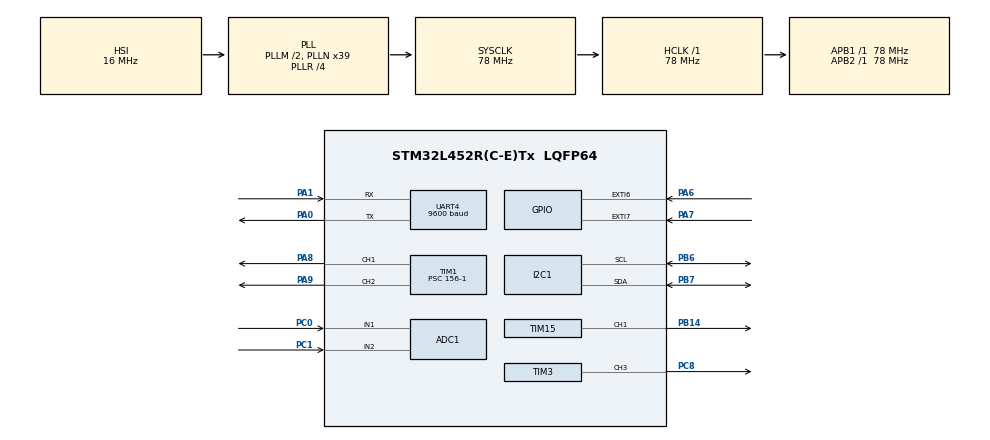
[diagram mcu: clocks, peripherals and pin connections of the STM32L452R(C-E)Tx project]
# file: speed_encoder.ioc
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ADC1.Channel-0\#ChannelRegularConversion=ADC_CHANNEL_1
ADC1.Channel-1\#ChannelRegularConversion=ADC_CHANNEL_2
ADC1.ContinuousConvMode=ENABLE
ADC1.DMAContinuousRequests=ENABLE
ADC1.EnableInjectedConversion=ENABLE
ADC1.NbrOfConversion=2
ADC1.NbrOfConversionFlag=1
ADC1.OffsetNumber-0\#ChannelRegularConversion=ADC_OFFSET_NONE
ADC1.OffsetNumber-1\#ChannelRegularConversion=ADC_OFFSET_NONE
ADC1.Rank-0\#ChannelRegularConversion=1
ADC1.Rank-1\#ChannelRegularConversion=2
ADC1.SamplingTime-0\#ChannelRegularConversion=ADC_SAMPLETIME_2CYCLES_5
ADC1.SamplingTime-1\#ChannelRegularConversion=ADC_SAMPLETIME_2CYCLES_5
ADC1.master=1
Dma.ADC1.0.Direction=DMA_PERIPH_TO_MEMORY
Dma.ADC1.0.Instance=DMA1_Channel1
Dma.ADC1.0.MemDataAlignment=DMA_MDATAALIGN_HALFWORD
Dma.ADC1.0.MemInc=DMA_MINC_ENABLE
Dma.ADC1.0.Mode=DMA_NORMAL
Dma.ADC1.0.PeriphDataAlignment=DMA_PDATAALIGN_HALFWORD
Dma.ADC1.0.PeriphInc=DMA_PINC_DISABLE
Dma.ADC1.0.Priority=DMA_PRIORITY_LOW
Dma.Request0=ADC1
I2C1.Timing=0x109099E5
Mcu.Family=STM32L4
Mcu.Name=STM32L452R(C-E)Tx
Mcu.Package=LQFP64
NVIC.DMA1_Channel1_IRQn=true\:0\:0\:false\:false\:true\:false\:true\:true
NVIC.EXTI9_5_IRQn=true\:0\:0\:false\:false\:true\:true\:true\:true
NVIC.PriorityGroup=NVIC_PRIORITYGROUP_4
NVIC.TIM1_UP_TIM16_IRQn=true\:0\:0\:false\:false\:true\:true\:true\:true
NVIC.TIM2_IRQn=true\:0\:0\:false\:false\:true\:true\:true\:true
NVIC.TIM6_DAC_IRQn=true\:0\:0\:false\:false\:true\:true\:true\:true
NVIC.UART4_IRQn=true\:0\:0\:false\:false\:true\:true\:true\:true
PA0.Mode=Asynchronous
PA0.Signal=UART4_TX
PA1.Mode=Asynchronous
PA1.Signal=UART4_RX
PA13\ (JTMS/SWDIO).Mode=Serial_Wire
PA13\ (JTMS/SWDIO).Signal=SYS_JTMS-SWDIO
PA14\ (JTCK/SWCLK).Mode=Serial_Wire
PA14\ (JTCK/SWCLK).Signal=SYS_JTCK-SWCLK
PA6.GPIO_ModeDefaultEXTI=GPIO_MODE_IT_RISING
PA6.GPIO_PuPd=GPIO_PULLDOWN
PA6.Signal=GPXTI6
PA7.GPIO_ModeDefaultEXTI=GPIO_MODE_IT_FALLING
PA7.GPIO_PuPd=GPIO_PULLDOWN
PA7.Signal=GPXTI7
PA8.Signal=S_TIM1_CH1
PA9.Signal=S_TIM1_CH2
PB14.Signal=S_TIM15_CH1
PB6.GPIO_Pu=GPIO_PULLUP
PB6.Mode=I2C
PB6.Signal=I2C1_SCL
PB7.GPIO_Pu=GPIO_PULLUP
PB7.Mode=I2C
PB7.Signal=I2C1_SDA
PC0.Signal=ADCx_IN1
PC1.Signal=ADCx_IN2
PC8.Signal=S_TIM3_CH3
PH0-OSC_IN\ (PH0).Mode=HSE-External-Oscillator
PH0-OSC_IN\ (PH0).Signal=RCC_OSC_IN
PH1-OSC_OUT\ (PH1).Mode=HSE-External-Oscillator
PH1-OSC_OUT\ (PH1).Signal=RCC_OSC_OUT
ProjectManager.HeapSize=0x200
ProjectManager.StackSize=0x400
ProjectManager.TargetToolchain=STM32CubeIDE
RCC.ADCFreq_Value=32000000
RCC.AHBFreq_Value=78000000
RCC.APB1Freq_Value=78000000
RCC.APB1TimFreq_Value=78000000
RCC.APB2Freq_Value=78000000
RCC.APB2TimFreq_Value=78000000
RCC.CortexFreq_Value=78000000
RCC.HCLKFreq_Value=78000000
RCC.HSE_VALUE=8000000
RCC.HSI48_VALUE=48000000
RCC.HSI_VALUE=16000000
RCC.LSE_VALUE=32768
RCC.MSI_VALUE=4000000
RCC.PLLM=2
RCC.PLLN=39
RCC.PLLR=RCC_PLLR_DIV4
RCC.PLLSourceVirtual=RCC_PLLSOURCE_HSI
RCC.SYSCLKFreq_VALUE=78000000
RCC.SYSCLKSource=RCC_SYSCLKSOURCE_PLLCLK
RCC.USBFreq_Value=32000000
RCC.VCOOutputFreq_Value=312000000
SH.ADCx_IN1.0=ADC1_IN1,IN1-Single-Ended
SH.ADCx_IN2.0=ADC1_IN2,IN2-Single-Ended
SH.S_TIM15_CH1.0=TIM15_CH1,PWM Generation1 CH1
SH.S_TIM1_CH1.0=TIM1_CH1,PWM Generation1 CH1
SH.S_TIM1_CH2.0=TIM1_CH2,PWM Generation2 CH2
SH.S_TIM3_CH3.0=TIM3_CH3,PWM Generation3 CH3
TIM1.AutoReloadPreload=TIM_AUTORELOAD_PRELOAD_ENABLE
TIM1.Channel-PWM\ Generation1\ CH1=TIM_CHANNEL_1
TIM1.Channel-PWM\ Generation2\ CH2=TIM_CHANNEL_2
TIM1.Period=10000-1
TIM1.Prescaler=156-1
TIM15.AutoReloadPreload=TIM_AUTORELOAD_PRELOAD_ENABLE
TIM15.Channel-PWM\ Generation1\ CH1=TIM_CHANNEL_1
TIM15.Period=10000-1
TIM15.Prescaler=156-1
TIM2.Period=7999
TIM2.Prescaler=999
TIM2.TIM_MasterOutputTrigger=TIM_TRGO_UPDATE
TIM3.AutoReloadPreload=TIM_AUTORELOAD_PRELOAD_ENABLE
TIM3.Channel-PWM\ Generation3\ CH3=TIM_CHANNEL_3
TIM3.OC3Preload_PWM=ENABLE
TIM3.Period=8000
TIM3.Prescaler=10-1
TIM6.Period=1560-1
TIM6.Prescaler=999
UART4.BaudRate=9600
VP_TIM15_VS_ClockSourceINT.Mode=Internal
VP_TIM1_VS_ClockSourceINT.Mode=Internal
VP_TIM2_VS_ClockSourceINT.Mode=Internal
VP_TIM3_VS_ClockSourceINT.Mode=Internal
VP_TIM6_VS_ClockSourceINT.Mode=Enable_Timer
board=custom

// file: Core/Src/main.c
/* USER CODE BEGIN Header */
/**
  ******************************************************************************
  * @file           : main.c
  * @brief          : Main program body
  ******************************************************************************
  * @attention
  *
  * Copyright (c) 2023 STMicroelectronics.
  * All rights reserved.
  *
  * This software is licensed under terms that can b found in the LICENSE file
  * in the root directory of this software component.
  * If no LICENSE file comes with this software, it is provided AS-IS.
  *
  ******************************************************************************
  */
/* USER CODE END Header */
#include "main.h"
#include "adc.h"
#include "dma.h"
#include "i2c.h"
#include "tim.h"
#include "usart.h"
#include "gpio.h"

/* USER CODE BEGIN Includes */

#include "stdio.h"

//#include "stdlib.h"

/* USER CODE END Includes */

/* USER CODE BEGIN PD */
#define gain1      0.018
#define offset1    1.0995
#define gain2      0.0006     //0.0006
#define offset2     0.0195    //-0.0982
/* USER CODE END PD */

/* USER CODE BEGIN PV */
int counter = 0;
int counterir = 0;

uint32_t SpeedTime2=0;
int k=0;
int a =0;

int sum_count=0;
float dist=0;

float R1=10.0;
float R2=0.47;

float voltage_input;

float dist1=0;
//uint8_t Receive;
uint32_t targetSpeed;

uint32_t SpeedTime=0;

uint32_t SpeedTime1=0;

float rps;
int POD_ID ;
//int POD_ID = 345;
uint16_t speed_dummy = 5656;
float speed_enc;
//uint8_t ACK = 0;

uint8_t Receive[11];
int spd=0;
uint8_t sed[4] ={0};
int  FinalTime;

uint8_t Time[2] ={0};
uint8_t Pod[3];

__IO uint32_t MotorTimeFed = 0;

__IO uint32_t MotorTimeBack = 0;

__IO uint32_t PreviousTime = 0;

__IO uint32_t PrintTime = 0;

__IO uint32_t EnergyTime = 0;

extern __IO uint32_t LocalTime;

int Rx= 0;
int flag = 0;
int a;
int b;
int c;

int t=0;

int i=0;

float A=0.0;
float lambda=0.9;

int count = 0;
int d = 0;
int e = 0;
int cnt[20];
uint32_t u =0;
char buffer[20];

int j=0;
int s = 0;
int q = 0;
int v =0;
int p =0;

int distance=0;
float dis = 0;
int speed = 0;
//to send to server:
float Energy = 0;
int TrackVoltage = 0;
int POD_Direction = 0;
uint8_t TrackingSwitching = 0;
//int temperature = 0;
int I_current = 8;
int slope = 0;
int distravelled=0;
//jonathan variables
float distanceCovered = 0;
static uint32_t countSum = 0;
//ADC variable
uint16_t value[2];
volatile int adc_conv_cplt = 0;
float voltagePC0;
float currentPC1;
float I;
float Vdc = 0;
float Idc = 0;
float Power = 0;
float Energy1 = 0;
//
float rawCurrent = 0;
uint8_t sampleCurrent = 0;
float Current =0;
uint8_t ACK = 0;
int increment = 0;

//speed loop

//float error;
//uint8_t targetSpeed;
 //float ServerSpeed = 0;
// IR sensor
uint8_t debounce_state = 1;

/* USER CODE END PV */

void SystemClock_Config(void);
/* USER CODE BEGIN PFP */
#ifdef __GNUC__
#define PUTCHAR_PROTOTYPE int __io_putchar(int ch)
#else
#define PUTCHAR_PROTOTYPE int fputc(int ch, FILE *f)
#endif

PUTCHAR_PROTOTYPE
{
  HAL_UART_Transmit(&huart4, (uint8_t *)&ch, 1, HAL_MAX_DELAY);
  return ch;
}
/* USER CODE END PFP */

int main(void)
{
  /* USER CODE BEGIN 1 */
//char msg[30];
  /* USER CODE END 1 */

  /* MCU Configuration--------------------------------------------------------*/

  /* Reset of all peripherals, Initializes the Flash interface and the Systick. */

	HAL_Init();

  /* Configure the system clock */
  SystemClock_Config();

  /* Initialize all configured peripherals */
  MX_GPIO_Init();
  MX_DMA_Init();
  MX_TIM1_Init();
  MX_TIM2_Init();
  MX_UART4_Init();
  MX_TIM3_Init();
  MX_TIM15_Init();
  MX_ADC1_Init();
  MX_I2C1_Init();
  MX_TIM6_Init();
  /* USER CODE BEGIN 2 */
  HAL_TIM_PWM_Start(&htim1,TIM_CHANNEL_1);
  HAL_TIM_PWM_Start(&htim1,TIM_CHANNEL_2);
  HAL_TIM_PWM_Start(&htim3,TIM_CHANNEL_3);
  HAL_TIM_Base_Start_IT(&htim2);
  HAL_UART_Receive_IT(&huart4, Receive, 11);
  HAL_TIM_PWM_Start(&htim15,TIM_CHANNEL_1);
  HAL_I2C_Mem_Read(&hi2c1, FRAM_ADDRESS,ENERGY_ADDRESS,I2C_MEMADD_SIZE_16BIT, (uint8_t *) &Energy, sizeof(Energy), 10);

  /* USER CODE END 2 */

  /* Infinite loop */
  /* USER CODE BEGIN WHILE */
  //TIM1->CCR2 = 2500;

  while (1)
  {

    /* USER CODE END WHILE */

    /* USER CODE BEGIN 3 */
	 	//  HAL_UART_Transmit_IT(&huart4, (uint32_t *) &speed, 10);

	/* if(a == 1)
	 {
	  if((LocalTime - SpeedTime2) >= 10)
		{
		 TIM3->CCR3 = k;
		 k+=80;
		 SpeedTime2=LocalTime;
		 if(k>=8000)
		 {
			 a = 0;
		 }
		}
	 }*/

	TIM15->CCR1 = s;  //reverse
 TIM1->CCR1 = q;  //forward
   // TIM1->CCR2 = v;  // not using
TIM3->CCR3 = p; // solenoid 0.68 max current*/
	   HAL_ADC_Start_DMA(&hadc1, (uint32_t *)value, 2);
	   Engery_Calulation();

//   if((LocalTime - PreviousTime ) >= 500)
//	 {
//		 if(distance<10){
//			 sprintf(buffer, "%d000%d%d", POD_ID, distance, Rx);
//		 }
//		 else if(distance<100){
//			 sprintf(buffer, "%d00%d%d", POD_ID, distance, Rx);
//  		 }
//		 else if(distance<1000){
//			 sprintf(buffer, "%d0%d%d", POD_ID, distance, Rx);
//		 }
//		 else{
//			 sprintf(buffer, "%d%d%d", POD_ID, distance, Rx);
//		 }
//		 printf("%s\n",buffer);
//		 PreviousTime = LocalTime;
//	 }
//	// printf("%d %d%d\n",a,b,c);
//	//  printf("%d",counter);
//	 printf("%d\n",distance);

 /*  if((LocalTime - PreviousTime ) >= 500)
	   	 {
	   		 if(speed_enc<10){
	   			 if(Energy<10){
	   				 sprintf(buffer, "%d000%d%d00%d%d%d%d%d%d", POD_ID, distance, POD_Status,Energy,TrackVoltage,distravelled,POD_Direction,TrackingSwitching,I_current);
	   			 }
	   			 else if(Energy<100){
	   				 sprintf(buffer, "%d000%d%d0%d%d%d%d%d%d", POD_ID, distance, POD_Status,Energy,TrackVoltage,distravelled,POD_Direction,TrackingSwitching,I_current);

	   			 }
	   			 else if(Energy<1000){
	   				 sprintf(buffer, "%d000%d%d%d%d%d%d%d%d", POD_ID, distance, POD_Status,Energy,TrackVoltage,distravelled,POD_Direction,TrackingSwitching,I_current);
	   			 }
	   		 }

	   		 else if(speed_enc<100){
	   			 if(Energy<10){
	   				 sprintf(buffer, "%d00%d%d00%d%d%d%d%d%d", POD_ID, distance, POD_Status,Energy,TrackVoltage,distravelled,POD_Direction,TrackingSwitching,I_current);
	   			 }
	   			 else if(Energy<100){
	   				 sprintf(buffer, "%d00%d%d0%d%d%d%d%d%d", POD_ID, distance, POD_Status,Energy,TrackVoltage,distravelled,POD_Direction,TrackingSwitching,I_current);
	   			 }
	   			 else if(Energy<1000){
	   				 sprintf(buffer, "%d00%d%d%d%d%d%d%d%d", POD_ID, distance, POD_Status,Energy,TrackVoltage,distravelled,POD_Direction,TrackingSwitching,I_current);
	   			 }
	   		 }
	   		 else if(speed_enc<1000){
	   			 if(Energy<10){
	   				 sprintf(buffer, "%d0%d%d00%d%d%d%d%d%d", POD_ID, distance, POD_Status,Energy,TrackVoltage,distravelled,POD_Direction,TrackingSwitching,I_current);
	   			 }
	   			 else if(Energy<100){
	   				 sprintf(buffer, "%d0%d%d0%d%d%d%d%d%d", POD_ID, distance, POD_Status,Energy,TrackVoltage,distravelled,POD_Direction,TrackingSwitching,I_current);
	   			 }
	   			 else if(Energy<1000){
	   				 sprintf(buffer, "%d0%d%d%d%d%d%d%d%d", POD_ID, distance, POD_Status,Energy,TrackVoltage,distravelled,POD_Direction,TrackingSwitching,I_current);
	   			 }
	   		 }
	   		 else{
	   			 if(Energy<10){
	   				 sprintf(buffer, "%d%d%d00%d%d%d%d%d%d", POD_ID, distance, POD_Status,POD_Status,TrackVoltage,distravelled,POD_Direction,TrackingSwitching,I_current);
	   			 }
	   			 else if(Energy<100){
	   				 sprintf(buffer, "%d%d%d0%d%d%d%d%d%d", POD_ID, distance, POD_Status,Energy,TrackVoltage,distravelled,POD_Direction,TrackingSwitching,I_current);
	   			 }
	   			 else if(Energy<1000){
	   				 sprintf(buffer, "%d%d%d%d%d%d%d%d%d", POD_ID, distance, POD_Status,Energy,Energy,distravelled,POD_Direction,TrackingSwitching,I_current);
	   			 }
	   		 }
	   		 printf("%s\n",buffer);
	   	 }*/

 // Motor_ControlLoop(targetSpeed);

if(flag == 1)
{
	//cnt[j] = counter;
			       countSum+=counter;
			       //ditanceCovered=((float)(countSum*10/20.0)*0.0754)/10.0;
			      distanceCovered=((float)(countSum/20.0)*0.0754); //m/sec
			      //distravelled = distanceCovered*100;
			       // distanceCovered=((float)(countSum/20.0)*0.103);
			   	 //  distance=(int)(distanceCovered * 100);
			   	  //  dis=sum_count*0.0754/20.0;
			   	    j++;
			   	    if(j>20){
			   	    	j=0;
			   	    }
			   	 rps = (float)counter*10/20.0;  //diameter is 27mm
			   //	distanceCovered=(rps*0.0754); //m/sec
			   	    counter = 0;
			   	    // speed = rps*0.0942; //diameter is 29mm
			   	    speed_enc = rps*0.075398;
			   	    //distance = speed_enc * 1000;
	    flag = 0;
}
if( Rx == 1)
 {
	 if((LocalTime - PrintTime ) >= 1000)
		   	 {
			   PrintTime  = LocalTime;
			   increment++;

			   printf("{\"POD_ID\": \"%03d\",\"speed_enc\": \"%01.3f\",\"distanceCovered\": \"%06.3f\",\"Idc\": \"%02.3f\",\"Vdc\": \"%02.3f\",\"Power\": \"%02.3f\",\"Energy\": \"%06.3f\",\"ACK\": \"%d\",\"increment\": \"%d\",\"counterir\": \"%d\",\"spd\": \"04%d\",\"TrackingSwitching\": \"%d\"}\r\n", POD_ID, speed_enc, distanceCovered,Idc,Vdc,Power,Energy,ACK,increment,counterir,spd,TrackingSwitching);
 }

	 if(Receive[10]=='1')
	 {
		 TIM3->CCR3 = 8000;

	 }
	 else
	 {
			 TIM3->CCR3 = 0;
	 }
	 if(Receive[3]=='1') // For forward direction
	  {
	     HAL_TIM_PWM_Stop(&htim15,TIM_CHANNEL_1);
	     TIM15->CCR1 = 0;
	     HAL_TIM_PWM_Start(&htim1,TIM_CHANNEL_1);
   // if(i<=ServerSpeed)
	 	 if(i<=spd)
	 	 {
	 	  if((LocalTime - SpeedTime) >= 10)
	 		{
			 TIM1->CCR1 = i;
			 i+=10;
			 SpeedTime=LocalTime;
	 		}
	 	 }
	 //else if(i>=ServerSpeed)
	 	  else if(i>=spd)
	 	   {
	 		if((LocalTime - SpeedTime1) >= 10)
	 		{
	 	     TIM1->CCR1 = i;
			 i-=10;
			 SpeedTime1=LocalTime;
	 		 }
	 	   }
	 	}
	   if((LocalTime - MotorTimeFed) >= FinalTime)
	 	 {
	 		     HAL_TIM_PWM_Stop(&htim1,TIM_CHANNEL_1);
	 		     TIM1->CCR1 = 0;
	 		     MotorTimeFed = LocalTime;
	 		        Rx=0;
	 		        i=0;
	 		       ACK = 1;
	 	  }

	 	 if(Receive[3]=='0') // For forward direction
	 		 	   {
	 		 		  HAL_TIM_PWM_Stop(&htim1,TIM_CHANNEL_1);
	 	 	 	 	  TIM1->CCR1 = 0;
	 	 	 	 	 HAL_TIM_PWM_Start(&htim15,TIM_CHANNEL_1);

	 		 		 if(i<=spd){
	 		 			// while(i<=spd){
	 		 				if((LocalTime - SpeedTime) >= 10)
	 		 				{
	 		 					TIM15->CCR1 = i;
	 							 i+=10;
	 							 SpeedTime=LocalTime;
	 		 				}

	 		 		 }
	 		 		 else if(i>=spd)
	 		 		 {
	 		 			// while(i>=spd){
	 		 				if((LocalTime - SpeedTime1) >= 10)
	 		 				{
	 		 					TIM15->CCR1 = i;
	 							 i-=10;
	 							 SpeedTime1=LocalTime;
	 		 			    }

	 		 		 }
	 		 		 }
	 	 if((LocalTime - MotorTimeBack) >= FinalTime)
	 		 	  {
	 		 		     HAL_TIM_PWM_Stop(&htim15,TIM_CHANNEL_1);
	 		 		   TIM15->CCR1 = 0;
	 		 		   MotorTimeBack = LocalTime;
	 		 		        Rx=0;
	 		 		        i=0;
	 		 		       ACK = 1;
	 		 	  }
 }
}
  /* USER CODE END 3 */
}

void SystemClock_Config(void)
{
  RCC_OscInitTypeDef RCC_OscInitStruct = {0};
  RCC_ClkInitTypeDef RCC_ClkInitStruct = {0};

  /** Configure the main internal regulator output voltage
  */
  if (HAL_PWREx_ControlVoltageScaling(PWR_REGULATOR_VOLTAGE_SCALE1) != HAL_OK)
  {
    Error_Handler();
  }

  /** Initializes the RCC Oscillators according to the specified parameters
  * in the RCC_OscInitTypeDef structure.
  */
  RCC_OscInitStruct.OscillatorType = RCC_OSCILLATORTYPE_HSI;
  RCC_OscInitStruct.HSIState = RCC_HSI_ON;
  RCC_OscInitStruct.HSICalibrationValue = RCC_HSICALIBRATION_DEFAULT;
  RCC_OscInitStruct.PLL.PLLState = RCC_PLL_ON;
  RCC_OscInitStruct.PLL.PLLSource = RCC_PLLSOURCE_HSI;
  RCC_OscInitStruct.PLL.PLLM = 2;
  RCC_OscInitStruct.PLL.PLLN = 39;
  RCC_OscInitStruct.PLL.PLLP = RCC_PLLP_DIV7;
  RCC_OscInitStruct.PLL.PLLQ = RCC_PLLQ_DIV2;
  RCC_OscInitStruct.PLL.PLLR = RCC_PLLR_DIV4;
  if (HAL_RCC_OscConfig(&RCC_OscInitStruct) != HAL_OK)
  {
    Error_Handler();
  }

  /** Initializes the CPU, AHB and APB buses clocks
  */
  RCC_ClkInitStruct.ClockType = RCC_CLOCKTYPE_HCLK|RCC_CLOCKTYPE_SYSCLK
                              |RCC_CLOCKTYPE_PCLK1|RCC_CLOCKTYPE_PCLK2;
  RCC_ClkInitStruct.SYSCLKSource = RCC_SYSCLKSOURCE_PLLCLK;
  RCC_ClkInitStruct.AHBCLKDivider = RCC_SYSCLK_DIV1;
  RCC_ClkInitStruct.APB1CLKDivider = RCC_HCLK_DIV1;
  RCC_ClkInitStruct.APB2CLKDivider = RCC_HCLK_DIV1;

  if (HAL_RCC_ClockConfig(&RCC_ClkInitStruct, FLASH_LATENCY_4) != HAL_OK)
  {
    Error_Handler();
  }
}

/* USER CODE BEGIN 4 */
void HAL_ADC_ConvCpltCallback(ADC_HandleTypeDef *hadc)
{
	if(adc_conv_cplt == 0)
	{
		Read_Adc();
	}
}

void HAL_GPIO_EXTI_Callback(uint16_t GPIO_Pin)
{
if(GPIO_Pin == GPIO_PIN_6)
{
	if(HAL_GPIO_ReadPin(GPIOA,GPIO_PIN_6)== GPIO_PIN_SET)
	{
		counter++;

	}
	//__HAL_GPIO_EXTI_CLEAR_IT(GPIO_PIN_7);
}

  if(GPIO_Pin == GPIO_PIN_7 && (debounce_state == 1))
  {

    	 HAL_TIM_Base_Start_IT(&htim6);
    	 debounce_state = 0;
			//counterir++;

	}
}
void HAL_TIM_PeriodElapsedCallback(TIM_HandleTypeDef *htim)
{
    flag=1;

    if(htim == &htim6)
    {
    	if(HAL_GPIO_ReadPin(GPIOA,GPIO_PIN_7)== GPIO_PIN_RESET)
    	{
    		debounce_state = 1;
    		counterir++;
    		HAL_TIM_Base_Stop_IT(&htim6);
    	}

    }
}
void HAL_UART_RxCpltCallback(UART_HandleTypeDef *huart)
{

	Rx = 1;
	HAL_UART_Receive_IT(&huart4, Receive, 11);

         for(int k=0; k<3; k++)
         {
        	 Pod[k] = Receive[k];
         }
          POD_ID = atoi(Pod);
	     for(int i=3;i<7;i++)
		 {
		   sed[i-3] = Receive[i+1];

		  }
		  spd = atoi(sed);
		  //spd/=100;
		  //ServerSpeed = 31504*spd + 1055.2;

		  for(int j=7;j<9;j++)
		  {
		     Time[j-7] = Receive[j+1];
		  }
		   FinalTime = atoi(Time);
		   FinalTime*=1000;
		   MotorTimeFed = LocalTime;
		   MotorTimeBack = LocalTime;
		 // memset(Receive,'\0',11);
}
void Read_Adc()
{
	 // HAL_ADC_Start_DMA(&hadc1, (uint32_t *)value, 2);

		      //if(adc_conv_cplt == 1)
		    //  {
		    	  static uint16_t sample_count = 0;
	              sample_count++;
		     	  HAL_ADC_Stop_DMA(&hadc1);
		     	  voltagePC0=((float)value[0])/4095*3.3;
		     	  Vdc = value[0]*gain1 + offset1;//
		     	 //TrackVoltage = (int)Vdc;
		     	  currentPC1=((float)value[1])/4095*3300;
		     	  rawCurrent+=currentPC1;
		     	  if(sample_count == 1000)
		     	  {
		     		  sample_count = 0;
		     		 adc_conv_cplt = 1;

		     	   // sampleCurrent = 0;
		     	  }
		     	 // I = currentPC1/1.67;
		     	 // voltage and current calibration

}
void Engery_Calulation()
{
	                  if(adc_conv_cplt == 1)
		   		     	  {
		   		     		 Current=(rawCurrent/1000);
		   		     		 Idc = (Current*gain2) + offset2;
		   		     		rawCurrent = 0;
		   		     	     adc_conv_cplt = 0;

		   		     	  }
	                  if(Idc < 0)
			     	  {
			     		  Idc = 0;
			     	 }
			     	  if(Idc > 0)
			     	  {
			     		 Power =  Vdc*Idc;
			     		 Energy = Energy + ((Power/1000)*((LocalTime - EnergyTime)/1000))/3600;

			     	  }
			     	 if((LocalTime - EnergyTime ) >= 60000)
			     	  {
			     		EnergyTime  = LocalTime;
			     	    HAL_I2C_Mem_Write(&hi2c1, FRAM_ADDRESS,ENERGY_ADDRESS,I2C_MEMADD_SIZE_16BIT, (uint8_t *) &Energy, sizeof(Energy), 10);

			     	  }
			     	 //  voltage_input=voltagePC0*(R1+R2)/R2;
			     	 //Energy = Power*t
}
// closed loop
//void Motor_ControlLoop(targetSpeed)
//{
//    error=targetSpeed-speed;
//
//    if(error>0){
//
//
//		if(LocalTime - SpeedTime >= 10)
//			{
//			TIM1->CCR1 = i;
//			i+=10;
//			SpeedTime=LocalTime;
//			}
//		error=targetSpeed-speed;
//		}
//
//    if(error<0){
//
//		if(LocalTime - SpeedTime >= 10)
//			{
//			TIM1->CCR1 = i;
//			i-=10;
//			SpeedTime=LocalTime;
//			}
//		error=targetSpeed-speed;
//		}
//}

/* USER CODE END 4 */

void Error_Handler(void)
{
  __disable_irq();
  while (1)
  {
  }
}
